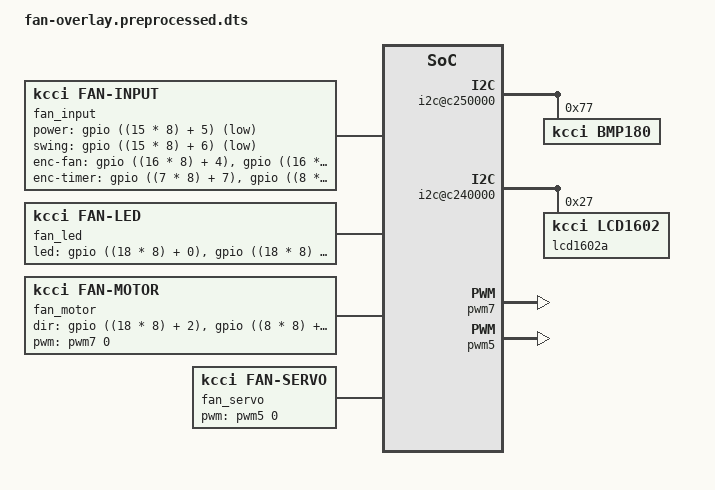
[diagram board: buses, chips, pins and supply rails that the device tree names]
# 0 "dts/fan-overlay.dts"
# 0 "<built-in>"
# 0 "<command-line>"
# 1 "dts/fan-overlay.dts"
/dts-v1/;
/plugin/;

# 1 "/lib/modules/5.15.199-tegra/build/include/dt-bindings/gpio/tegra234-gpio.h" 1
# 16 "/lib/modules/5.15.199-tegra/build/include/dt-bindings/gpio/tegra234-gpio.h"
# 1 "/lib/modules/5.15.199-tegra/build/include/dt-bindings/gpio/gpio.h" 1
# 17 "/lib/modules/5.15.199-tegra/build/include/dt-bindings/gpio/tegra234-gpio.h" 2
# 5 "dts/fan-overlay.dts" 2


/ {
    overlay-name = "kcci fan project";
    compatible = "nvidia,p3768-0000+p3767-0005", "nvidia,p3768-0000+p3767-0005-super";

    fragment@0 {
        target-path = "/";
        __overlay__ {
            fan_input {
                compatible = "kcci,fan-input";
                power-gpios = <&gpio ((15 * 8) + 5) 1>;
                swing-gpios = <&gpio ((15 * 8) + 6) 1>;
                enc-fan-gpios = <&gpio ((16 * 8) + 4) 0>,
                                  <&gpio ((16 * 8) + 5) 0>,
                                  <&gpio ((20 * 8) + 6) 1>;
                enc-timer-gpios = <&gpio ((7 * 8) + 7) 0>,
                                  <&gpio ((8 * 8) + 2) 0>,
                                  <&gpio ((8 * 8) + 1) 1>;
                debounce-ms = <20>;
                pinctrl-names = "default";
                pinctrl-0 = <&fan_input_pins>;
            };
            fan_led {
                compatible = "kcci,fan-led";
                led-gpios = <&gpio ((18 * 8) + 0) 0>,
                            <&gpio ((18 * 8) + 4) 0>,
                            <&gpio ((18 * 8) + 3) 0>,
                            <&gpio ((18 * 8) + 1) 0>;
                pinctrl-names = "default";
                pinctrl-0 = <&fan_led_pins>;
            };
            fan_motor {
                compatible = "kcci,fan-motor";
                pwms = <&pwm7 0 50000>;
                dir-gpios = <&gpio ((18 * 8) + 2) 0>,
                            <&gpio ((8 * 8) + 0) 0>;
                pinctrl-names = "default";
                pinctrl-0 = <&fan_motor_pins>;
            };
            fan_servo {
                compatible = "kcci,fan-servo";
                pwms = <&pwm5 0 5000000>;
                min-pulse-us = <500>;
                max-pulse-us = <2500>;
                swing-min-deg = <30>;
                swing-max-deg = <150>;
            };
        };
    };

    fragment@10 {
        target = <&pinmux>;
        __overlay__ {
            fan_motor_pins: fan-motor-pins {
                in1 { nvidia,pins = "spi3_mosi_py2"; nvidia,function = "rsvd1"; nvidia,gpio-mode = <0>; nvidia,pull = <1>; nvidia,tristate = <0>; nvidia,enable-input = <0>; nvidia,open-drain = <0>; };
                in2 { nvidia,pins = "soc_gpio42_pi0"; nvidia,function = "rsvd2"; nvidia,gpio-mode = <0>; nvidia,pull = <1>; nvidia,tristate = <0>; nvidia,enable-input = <0>; nvidia,open-drain = <0>; };
            };
            fan_led_pins: fan-led-pins {
                led1 { nvidia,pins = "spi3_sck_py0"; nvidia,gpio-mode = <0>; nvidia,pull = <1>; nvidia,tristate = <0>; nvidia,enable-input = <0>; nvidia,open-drain = <0>; };
                led2 { nvidia,pins = "spi3_cs1_py4"; nvidia,gpio-mode = <0>; nvidia,pull = <1>; nvidia,tristate = <0>; nvidia,enable-input = <0>; nvidia,open-drain = <0>; };
                led3 { nvidia,pins = "spi3_cs0_py3"; nvidia,gpio-mode = <0>; nvidia,pull = <1>; nvidia,tristate = <0>; nvidia,enable-input = <0>; nvidia,open-drain = <0>; };
                led4 { nvidia,pins = "spi3_miso_py1"; nvidia,gpio-mode = <0>; nvidia,pull = <1>; nvidia,tristate = <0>; nvidia,enable-input = <0>; nvidia,open-drain = <0>; };
            };
            fan_input_pins: fan-input-pins {
                btn-power { nvidia,pins = "soc_gpio32_pq5"; nvidia,gpio-mode = <0>; nvidia,pull = <0>; nvidia,tristate = <1>; nvidia,enable-input = <1>; nvidia,schmitt = <1>; };
                btn-swing { nvidia,pins = "soc_gpio33_pq6"; nvidia,gpio-mode = <0>; nvidia,pull = <0>; nvidia,tristate = <1>; nvidia,enable-input = <1>; nvidia,schmitt = <1>; };
            };
        };
    };

    fragment@1 {
        target-path = "/bus@0/i2c@c250000";
        __overlay__ {
            #address-cells = <1>;
            #size-cells = <0>;
            bmp180@77 { compatible = "kcci,bmp180"; reg = <0x77>; };
        };
    };

    fragment@2 {
 target-path = "/bus@0/i2c@c240000";
 __overlay__ {
     #address-cells = <1>;
     #size-cells = <0>;
            lcd1602a@27 { compatible = "kcci,lcd1602"; reg = <0x27>; };
        };
    };

    fragment@3 { target = <&pwm7>; __overlay__ { status = "okay"; }; };
    fragment@4 { target = <&pwm5>; __overlay__ { status = "okay"; }; };


};
